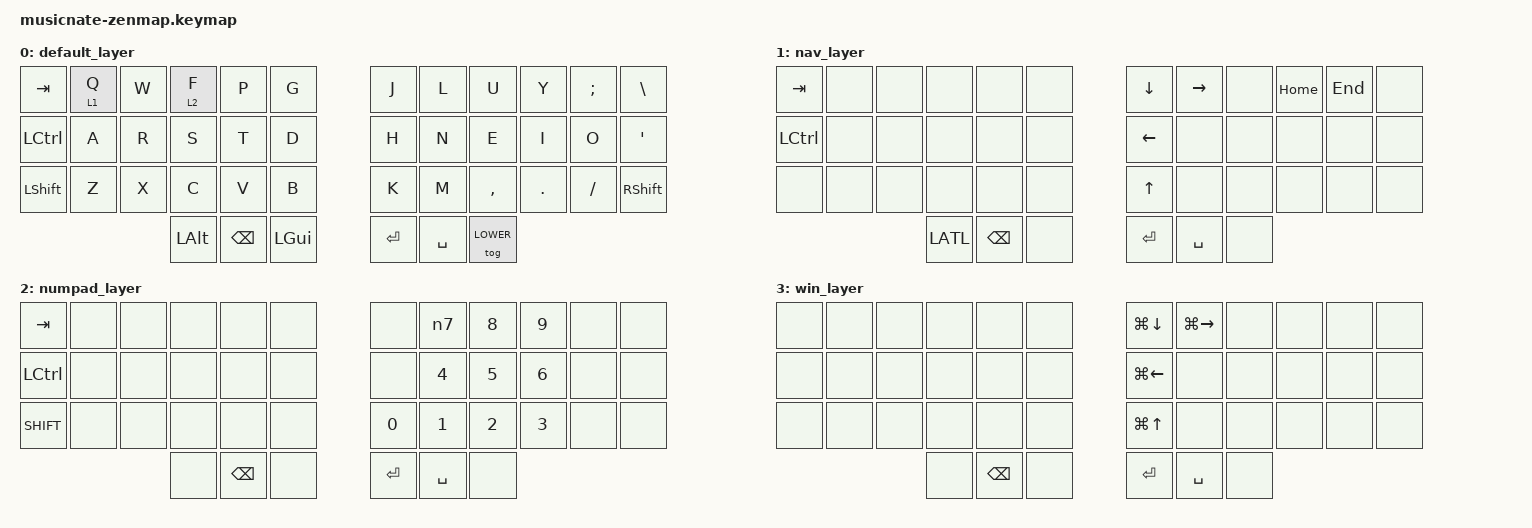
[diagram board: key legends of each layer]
#include <behaviors.dtsi>
#include <dt-bindings/zmk/keys.h>
#include <dt-bindings/zmk/bt.h>

#define DEFAULT 0
#define NAV 1
#define NUM 2
#define WIN 3

/ {
        keymap {
                compatible = "zmk,keymap";

                default_layer {
// ---------------------------------------------------------------------------------------------------------------------------------
// |   TAB   | Q (nav) |    W    | F (NAV) |    P    |    G    |      |    J    |    L     |    U    |    Y    |    ;    |    \    |
// |   CTRL  |    A    |    R    |    S    |    T    |    D    |      |    H    |    N     |    E    |    I    |    O    |    '    |
// |   SHFT  |    Z    | X (win+)|    C    |    V    |    B    |      |    K    |    M     |    ,    |    .    |    /    |   SHFT  |
//                               |   ALT   |   BSPC  |   GUI   |      |   ENT   |  SPACE   |         |
// ---------------------------------------------------------------------------------------------------------------------------------
                        bindings = <
   &kp TAB   &lt 1 Q   &kp W     &lt 2 F   &kp P     &kp G            &kp J     &kp L      &kp U     &kp Y     &kp SEMI  &kp BSLH
   &kp LCTRL &kp A     &kp R     &kp S     &kp T     &kp D            &kp H     &kp N      &kp E     &kp I     &kp O     &kp APOS
   &kp LSHFT &kp Z     &kp X     &kp C     &kp V     &kp B            &kp K     &kp M      &kp COMMA &kp DOT   &kp FSLH  &kp RSHFT
                                 &kp LALT  &kp BSPC  &kp LGUI         &kp RET   &kp SPACE  &tog LOWER
                        >;
                };

                nav_layer {
// ---------------------------------------------------------------------------------------------------------------------------------
// |   TAB   |         |         |         |         |         |      |   DOWN  |   RIGHT  |         |   HOME  |   END   |         |
// |   CTRL  |         |         |         |         |         |      |   LEFT  |          |         |         |         |         |
// |         |         |         |         |         |         |      |   UP    |          |         |         |         |         |
//                               |   ALT   |         |         |      |         |          |         |
// ---------------------------------------------------------------------------------------------------------------------------------
                        bindings = <
   &kp TAB   &none     &none     &none     &none     &none            &kp DOWN  &kp RIGHT  &none     &kp HOME  &kp END   &none
   &kp LCTRL &none     &none     &none     &none     &none            &kp LEFT  &none      &none     &none     &none     &none
   &none     &none     &none     &none     &none     &none            &kp UP    &none      &none     &none     &none     &none
                                 &kp LATL  &kp BSPC  &none            &kp RET   &kp SPACE  &none
                        >;
                };

                numpad_layer {
// ---------------------------------------------------------------------------------------------------------------------------------
// |  TAB    |         |         |         |         |         |      |         |    7     |    8    |    9    |         |         |
// |  CTRL   |         |         |         |         |         |      |         |    4     |    5    |    6    |         |         |
// |  SHIFT  |         |         |         |         |         |      |    0    |    1     |    2    |    3    |         |         |
//                               |         |         |         |      |   ENT   |  SPACE   |         |
// ---------------------------------------------------------------------------------------------------------------------------------
                        bindings = <
   &kp TAB   &none     &none     &none     &none     &none            &none     &kp n7     &kp N8    &kp N9    &none     &none
   &kp LCTRL &none     &none     &none     &none     &none            &none     &kp N4     &kp N5    &kp N6    &none     &none
   &kp SHIFT &none     &none     &none     &none     &none            &kp N0    &kp N1     &kp N2    &kp N3    &none     &none
                                 &none     &kp BSPC  &none            &kp RET   &kp SPACE  &none
                        >;
                };

                win_layer {
// ---------------------------------------------------------------------------------------------------------------------------------
// |         |         |         |         |         |         |      | WIN+DOWN| WIN+RIGHT|         |         |         |         |
// |         |         |         |         |         |         |      | WIN+LEFT|          |         |         |         |         |
// |         |         |         |         |         |         |      | WIN+UP  |          |         |         |         |         |
//                               |         |         |         |      |         |          |         |
// ---------------------------------------------------------------------------------------------------------------------------------
                        bindings = <
   &none     &none     &none     &none     &none     &none            &kp LG(DOWN)  &kp LG(RIGHT)  &none     &none     &none     &none
   &none     &none     &none     &none     &none     &none            &kp LG(LEFT)  &none      &none     &none     &none     &none
   &none     &none     &none     &none     &none     &none            &kp LG(UP)    &none      &none     &none     &none     &none
                                 &none     &kp BSPC  &none            &kp RET   &kp SPACE  &none
                        >;
                };



        };
};
